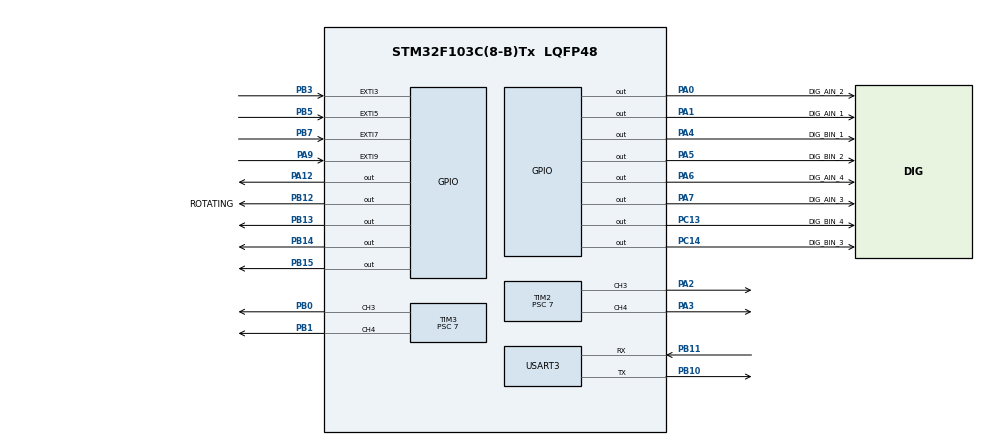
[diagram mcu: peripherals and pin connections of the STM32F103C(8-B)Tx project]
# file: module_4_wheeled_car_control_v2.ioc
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Mcu.Family=STM32F1
Mcu.Name=STM32F103C(8-B)Tx
Mcu.Package=LQFP48
NVIC.PriorityGroup=NVIC_PRIORITYGROUP_4
NVIC.USART3_IRQn=true\:0\:0\:false\:false\:true\:true\:true
PA0-WKUP.GPIO_Label=DIG_AIN_2
PA0-WKUP.Signal=GPIO_Output
PA1.GPIO_Label=DIG_AIN_1
PA1.Signal=GPIO_Output
PA12.Signal=GPIO_Output
PA13.Mode=Serial_Wire
PA13.Signal=SYS_JTMS-SWDIO
PA14.Mode=Serial_Wire
PA14.Signal=SYS_JTCK-SWCLK
PA2.Signal=S_TIM2_CH3
PA3.Signal=S_TIM2_CH4
PA4.GPIO_Label=DIG_BIN_1
PA4.Signal=GPIO_Output
PA5.GPIO_Label=DIG_BIN_2
PA5.Signal=GPIO_Output
PA6.GPIO_Label=DIG_AIN_4
PA6.Signal=GPIO_Output
PA7.GPIO_Label=DIG_AIN_3
PA7.Signal=GPIO_Output
PA9.Signal=GPXTI9
PB0.Signal=S_TIM3_CH3
PB1.Signal=S_TIM3_CH4
PB10.Mode=Asynchronous
PB10.Signal=USART3_TX
PB11.Mode=Asynchronous
PB11.Signal=USART3_RX
PB12.GPIO_Label=ROTATING
PB12.Signal=GPIO_Output
PB13.Signal=GPIO_Output
PB14.Signal=GPIO_Output
PB15.Signal=GPIO_Output
PB3.Signal=GPXTI3
PB5.Signal=GPXTI5
PB7.Signal=GPXTI7
PC13-TAMPER-RTC.GPIO_Label=DIG_BIN_4
PC13-TAMPER-RTC.Signal=GPIO_Output
PC14-OSC32_IN.GPIO_Label=DIG_BIN_3
PC14-OSC32_IN.Signal=GPIO_Output
ProjectManager.HeapSize=0x200
ProjectManager.StackSize=0x400
ProjectManager.TargetToolchain=STM32CubeIDE
RCC.APB1Freq_Value=8000000
RCC.APB2Freq_Value=8000000
SH.S_TIM2_CH3.0=TIM2_CH3,PWM Generation3 CH3
SH.S_TIM2_CH4.0=TIM2_CH4,PWM Generation4 CH4
SH.S_TIM3_CH3.0=TIM3_CH3,PWM Generation3 CH3
SH.S_TIM3_CH4.0=TIM3_CH4,PWM Generation4 CH4
TIM2.Channel-PWM\ Generation3\ CH3=TIM_CHANNEL_3
TIM2.Channel-PWM\ Generation4\ CH4=TIM_CHANNEL_4
TIM2.Period=999
TIM2.Prescaler=7
TIM3.Channel-PWM\ Generation3\ CH3=TIM_CHANNEL_3
TIM3.Channel-PWM\ Generation4\ CH4=TIM_CHANNEL_4
TIM3.Period=999
TIM3.Prescaler=7
USART3.VirtualMode=VM_ASYNC
VP_TIM2_VS_ClockSourceINT.Mode=Internal
board=custom

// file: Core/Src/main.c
/* USER CODE BEGIN Header */
/**
  ******************************************************************************
  * @file           : main.c
  * @brief          : Main program body
  ******************************************************************************
  * @attention
  *
  * Copyright (c) 2022 STMicroelectronics.
  * All rights reserved.
  *
  * This software is licensed under terms that can be found in the LICENSE file
  * in the root directory of this software component.
  * If no LICENSE file comes with this software, it is provided AS-IS.
  *
  ******************************************************************************
  */
/* USER CODE END Header */
#include "main.h"

/* USER CODE BEGIN Includes */
#include "car_motors_control.h" // library for controlling the motors
/* USER CODE END Includes */

/* USER CODE BEGIN PTD */
#define PWM_MAX (htim2.Init.Period * 0.88) // limitation of input signal
/* USER CODE END PTD */

/* USER CODE BEGIN PD */
/* variables for microseconds interval using */
#define DWT_CONTROL *(volatile unsigned long *)0xE0001000
#define SCB_DEMCR   *(volatile unsigned long *)0xE000EDFC
/* USER CODE END PD */

TIM_HandleTypeDef htim2;
TIM_HandleTypeDef htim3;

UART_HandleTypeDef huart3;

/* USER CODE BEGIN PV */
volatile uint8_t uart_flag = 0; // UART interrupt flag
volatile uint8_t shoot_flag = 0; // flag of the shooting process
uint8_t uart_buf[11]; // input UART buffer, data comes from ESP32
/* USER CODE END PV */

void SystemClock_Config(void);
static void MX_GPIO_Init(void);
static void MX_TIM2_Init(void);
static void MX_TIM3_Init(void);
static void MX_USART3_UART_Init(void);
/* USER CODE BEGIN PFP */
void shoot(); // shooting func
/* USER CODE END PFP */

/* USER CODE BEGIN 0 */
/* UART input interrupt */
void HAL_UART_RxCpltCallback(UART_HandleTypeDef *huart) {
	uart_flag = 1;
	HAL_UART_Receive_IT(&huart3, (uint8_t *) uart_buf, sizeof(uart_buf));
}

/**
* @brief function for controlling the motors
* @retval None
*/
void command_accomplishing(void) {
	if (uart_buf[10] == 0) {
		shoot_flag = 1;
	}
	if ((uart_buf[10] == 1) && (shoot_flag == 1)) {
		shoot();
	}
	if (uart_buf[0] == 'B') { // change the speed of bottom motors
		move_motor(1, uart_buf[1], uart_buf[2] * PWM_MAX / 255);
		move_motor(2, uart_buf[3], uart_buf[4] * PWM_MAX / 255);
	}

	if (uart_buf[5] == 'T') { // change the speed of top motors
		move_motor(3, uart_buf[6], uart_buf[7] * PWM_MAX / 255);
		move_motor(4, uart_buf[8], uart_buf[9] * PWM_MAX / 255);
	}

//	else if (uart_buf[0] == 'R') {
//		HAL_GPIO_WritePin(ROTATING_GPIO_Port, ROTATING_Pin, 1);
//		HAL_Delay(1000);
//		HAL_GPIO_WritePin(ROTATING_GPIO_Port, ROTATING_Pin, 0);
//	}
//
//	else if (uart_buf[0] == 'S') {
//		stop_all_motors();
//	}
//
//	else if (uart_buf[0] == 'Z') {
//		TIM1 -> CCR1 = 10;
//		HAL_Delay(2000);
//		TIM1 -> CCR1 = 0;
//	}
}

void DWT_Init(void)
{
    SCB_DEMCR |= CoreDebug_DEMCR_TRCENA_Msk; // разрешаем использовать счётчик
    DWT_CONTROL |= DWT_CTRL_CYCCNTENA_Msk;   // запускаем счётчик
}

void delay_micros(uint32_t us)
{
    uint32_t us_count_tic =  us * (SystemCoreClock / 1000000); // получаем кол-во тактов за 1 мкс и умножаем на наше значение
    DWT->CYCCNT = 0U; // обнуляем счётчик
    while(DWT->CYCCNT < us_count_tic);
}

void shoot() {
  for (int i = 0; i < 300; ++i) {
	  HAL_GPIO_WritePin(ROTATING_GPIO_Port, ROTATING_Pin, GPIO_PIN_SET);
	  delay_micros(500);
	  HAL_GPIO_WritePin(ROTATING_GPIO_Port, ROTATING_Pin, GPIO_PIN_RESET);
	  delay_micros(500);
  }
  shoot_flag = 0;
}
/* USER CODE END 0 */

int main(void)
{

  /* MCU Configuration--------------------------------------------------------*/

  /* Reset of all peripherals, Initializes the Flash interface and the Systick. */
  HAL_Init();

  /* Configure the system clock */
  SystemClock_Config();

  /* Initialize all configured peripherals */
  MX_GPIO_Init();
  MX_TIM2_Init();
  MX_TIM3_Init();
  MX_USART3_UART_Init();
  /* USER CODE BEGIN 2 */
  DWT_Init();

//  for (int i = 0; i < 700; ++i) {
//	  HAL_GPIO_WritePin(ROTATING_GPIO_Port, ROTATING_Pin, GPIO_PIN_SET);
//	  delay_micros(500);
//	  HAL_GPIO_WritePin(ROTATING_GPIO_Port, ROTATING_Pin, GPIO_PIN_RESET);
//	  delay_micros(500);
//  }
//
//  for (int i = 0; i < 700; ++i) {
//	  HAL_GPIO_WritePin(GPIOA, GPIO_PIN_12, GPIO_PIN_SET);
//	  delay_micros(100);
//	  HAL_GPIO_WritePin(GPIOA, GPIO_PIN_12, GPIO_PIN_RESET);
//	  delay_micros(900);
//  }

//  HAL_GPIO_WritePin(GPIOA, GPIO_PIN_12, GPIO_PIN_SET);
  /* USER CODE END 2 */

  /* Infinite loop */
  /* USER CODE BEGIN WHILE */
  init_motors(); // initialization of motors structures (GPIO, timers)
  HAL_UART_Receive_IT(&huart3, (uint8_t *) uart_buf, sizeof(uart_buf)); // enable UART interrupting for receiving 11 bytes

  /*move_motor(1, 1, 100);
  HAL_Delay(2000);
  move_motor(2, 1, 100);
  HAL_Delay(2000);
  move_motor(3, 1, 100);
  HAL_Delay(2000);
  move_motor(4, 1, 100);
  HAL_Delay(2000);*/

  while (1) {
    /* if 11 bytes were received */
	  if (uart_flag) {
		  uart_flag = 0;
		  command_accomplishing(); // execute input command
	  }
    /* USER CODE END WHILE */

  }
}

void SystemClock_Config(void)
{
  RCC_OscInitTypeDef RCC_OscInitStruct = {0};
  RCC_ClkInitTypeDef RCC_ClkInitStruct = {0};

  /** Initializes the RCC Oscillators according to the specified parameters
  * in the RCC_OscInitTypeDef structure.
  */
  RCC_OscInitStruct.OscillatorType = RCC_OSCILLATORTYPE_HSI;
  RCC_OscInitStruct.HSIState = RCC_HSI_ON;
  RCC_OscInitStruct.HSICalibrationValue = RCC_HSICALIBRATION_DEFAULT;
  RCC_OscInitStruct.PLL.PLLState = RCC_PLL_NONE;
  if (HAL_RCC_OscConfig(&RCC_OscInitStruct) != HAL_OK)
  {
    Error_Handler();
  }
  /** Initializes the CPU, AHB and APB buses clocks
  */
  RCC_ClkInitStruct.ClockType = RCC_CLOCKTYPE_HCLK|RCC_CLOCKTYPE_SYSCLK
                              |RCC_CLOCKTYPE_PCLK1|RCC_CLOCKTYPE_PCLK2;
  RCC_ClkInitStruct.SYSCLKSource = RCC_SYSCLKSOURCE_HSI;
  RCC_ClkInitStruct.AHBCLKDivider = RCC_SYSCLK_DIV1;
  RCC_ClkInitStruct.APB1CLKDivider = RCC_HCLK_DIV1;
  RCC_ClkInitStruct.APB2CLKDivider = RCC_HCLK_DIV1;

  if (HAL_RCC_ClockConfig(&RCC_ClkInitStruct, FLASH_LATENCY_0) != HAL_OK)
  {
    Error_Handler();
  }
}

static void MX_TIM2_Init(void)
{

  TIM_ClockConfigTypeDef sClockSourceConfig = {0};
  TIM_MasterConfigTypeDef sMasterConfig = {0};
  TIM_OC_InitTypeDef sConfigOC = {0};

  htim2.Instance = TIM2;
  htim2.Init.Prescaler = 7;
  htim2.Init.CounterMode = TIM_COUNTERMODE_UP;
  htim2.Init.Period = 999;
  htim2.Init.ClockDivision = TIM_CLOCKDIVISION_DIV1;
  htim2.Init.AutoReloadPreload = TIM_AUTORELOAD_PRELOAD_DISABLE;
  if (HAL_TIM_Base_Init(&htim2) != HAL_OK)
  {
    Error_Handler();
  }
  sClockSourceConfig.ClockSource = TIM_CLOCKSOURCE_INTERNAL;
  if (HAL_TIM_ConfigClockSource(&htim2, &sClockSourceConfig) != HAL_OK)
  {
    Error_Handler();
  }
  if (HAL_TIM_PWM_Init(&htim2) != HAL_OK)
  {
    Error_Handler();
  }
  sMasterConfig.MasterOutputTrigger = TIM_TRGO_RESET;
  sMasterConfig.MasterSlaveMode = TIM_MASTERSLAVEMODE_DISABLE;
  if (HAL_TIMEx_MasterConfigSynchronization(&htim2, &sMasterConfig) != HAL_OK)
  {
    Error_Handler();
  }
  sConfigOC.OCMode = TIM_OCMODE_PWM1;
  sConfigOC.Pulse = 0;
  sConfigOC.OCPolarity = TIM_OCPOLARITY_HIGH;
  sConfigOC.OCFastMode = TIM_OCFAST_DISABLE;
  if (HAL_TIM_PWM_ConfigChannel(&htim2, &sConfigOC, TIM_CHANNEL_3) != HAL_OK)
  {
    Error_Handler();
  }
  if (HAL_TIM_PWM_ConfigChannel(&htim2, &sConfigOC, TIM_CHANNEL_4) != HAL_OK)
  {
    Error_Handler();
  }
  HAL_TIM_MspPostInit(&htim2);

}

static void MX_TIM3_Init(void)
{

  TIM_MasterConfigTypeDef sMasterConfig = {0};
  TIM_OC_InitTypeDef sConfigOC = {0};

  htim3.Instance = TIM3;
  htim3.Init.Prescaler = 7;
  htim3.Init.CounterMode = TIM_COUNTERMODE_UP;
  htim3.Init.Period = 999;
  htim3.Init.ClockDivision = TIM_CLOCKDIVISION_DIV1;
  htim3.Init.AutoReloadPreload = TIM_AUTORELOAD_PRELOAD_DISABLE;
  if (HAL_TIM_PWM_Init(&htim3) != HAL_OK)
  {
    Error_Handler();
  }
  sMasterConfig.MasterOutputTrigger = TIM_TRGO_RESET;
  sMasterConfig.MasterSlaveMode = TIM_MASTERSLAVEMODE_DISABLE;
  if (HAL_TIMEx_MasterConfigSynchronization(&htim3, &sMasterConfig) != HAL_OK)
  {
    Error_Handler();
  }
  sConfigOC.OCMode = TIM_OCMODE_PWM1;
  sConfigOC.Pulse = 0;
  sConfigOC.OCPolarity = TIM_OCPOLARITY_HIGH;
  sConfigOC.OCFastMode = TIM_OCFAST_DISABLE;
  if (HAL_TIM_PWM_ConfigChannel(&htim3, &sConfigOC, TIM_CHANNEL_3) != HAL_OK)
  {
    Error_Handler();
  }
  if (HAL_TIM_PWM_ConfigChannel(&htim3, &sConfigOC, TIM_CHANNEL_4) != HAL_OK)
  {
    Error_Handler();
  }
  HAL_TIM_MspPostInit(&htim3);

}

static void MX_USART3_UART_Init(void)
{

  huart3.Instance = USART3;
  huart3.Init.BaudRate = 115200;
  huart3.Init.WordLength = UART_WORDLENGTH_8B;
  huart3.Init.StopBits = UART_STOPBITS_1;
  huart3.Init.Parity = UART_PARITY_NONE;
  huart3.Init.Mode = UART_MODE_TX_RX;
  huart3.Init.HwFlowCtl = UART_HWCONTROL_NONE;
  huart3.Init.OverSampling = UART_OVERSAMPLING_16;
  if (HAL_UART_Init(&huart3) != HAL_OK)
  {
    Error_Handler();
  }

}

static void MX_GPIO_Init(void)
{
  GPIO_InitTypeDef GPIO_InitStruct = {0};

  /* GPIO Ports Clock Enable */
  __HAL_RCC_GPIOC_CLK_ENABLE();
  __HAL_RCC_GPIOA_CLK_ENABLE();
  __HAL_RCC_GPIOB_CLK_ENABLE();

  /*Configure GPIO pin Output Level */
  HAL_GPIO_WritePin(GPIOC, DIG_BIN_4_Pin|DIG_BIN_3_Pin, GPIO_PIN_RESET);

  /*Configure GPIO pin Output Level */
  HAL_GPIO_WritePin(GPIOA, DIG_AIN_2_Pin|DIG_AIN_1_Pin|DIG_BIN_1_Pin|DIG_BIN_2_Pin
                          |DIG_AIN_4_Pin|DIG_AIN_3_Pin|GPIO_PIN_12, GPIO_PIN_RESET);

  /*Configure GPIO pin Output Level */
  HAL_GPIO_WritePin(GPIOB, ROTATING_Pin|GPIO_PIN_13|GPIO_PIN_14|GPIO_PIN_15, GPIO_PIN_RESET);

  /*Configure GPIO pins : DIG_BIN_4_Pin DIG_BIN_3_Pin */
  GPIO_InitStruct.Pin = DIG_BIN_4_Pin|DIG_BIN_3_Pin;
  GPIO_InitStruct.Mode = GPIO_MODE_OUTPUT_PP;
  GPIO_InitStruct.Pull = GPIO_NOPULL;
  GPIO_InitStruct.Speed = GPIO_SPEED_FREQ_LOW;
  HAL_GPIO_Init(GPIOC, &GPIO_InitStruct);

  /*Configure GPIO pins : DIG_AIN_2_Pin DIG_AIN_1_Pin DIG_BIN_1_Pin DIG_BIN_2_Pin
                           DIG_AIN_4_Pin DIG_AIN_3_Pin PA12 */
  GPIO_InitStruct.Pin = DIG_AIN_2_Pin|DIG_AIN_1_Pin|DIG_BIN_1_Pin|DIG_BIN_2_Pin
                          |DIG_AIN_4_Pin|DIG_AIN_3_Pin|GPIO_PIN_12;
  GPIO_InitStruct.Mode = GPIO_MODE_OUTPUT_PP;
  GPIO_InitStruct.Pull = GPIO_NOPULL;
  GPIO_InitStruct.Speed = GPIO_SPEED_FREQ_LOW;
  HAL_GPIO_Init(GPIOA, &GPIO_InitStruct);

  /*Configure GPIO pins : ROTATING_Pin PB13 PB14 PB15 */
  GPIO_InitStruct.Pin = ROTATING_Pin|GPIO_PIN_13|GPIO_PIN_14|GPIO_PIN_15;
  GPIO_InitStruct.Mode = GPIO_MODE_OUTPUT_PP;
  GPIO_InitStruct.Pull = GPIO_NOPULL;
  GPIO_InitStruct.Speed = GPIO_SPEED_FREQ_LOW;
  HAL_GPIO_Init(GPIOB, &GPIO_InitStruct);

  /*Configure GPIO pin : PA9 */
  GPIO_InitStruct.Pin = GPIO_PIN_9;
  GPIO_InitStruct.Mode = GPIO_MODE_IT_RISING;
  GPIO_InitStruct.Pull = GPIO_NOPULL;
  HAL_GPIO_Init(GPIOA, &GPIO_InitStruct);

  /*Configure GPIO pins : PB3 PB5 PB7 */
  GPIO_InitStruct.Pin = GPIO_PIN_3|GPIO_PIN_5|GPIO_PIN_7;
  GPIO_InitStruct.Mode = GPIO_MODE_IT_RISING;
  GPIO_InitStruct.Pull = GPIO_NOPULL;
  HAL_GPIO_Init(GPIOB, &GPIO_InitStruct);

}

void Error_Handler(void)
{
  __disable_irq();
  while (1)
  {
  }
}
